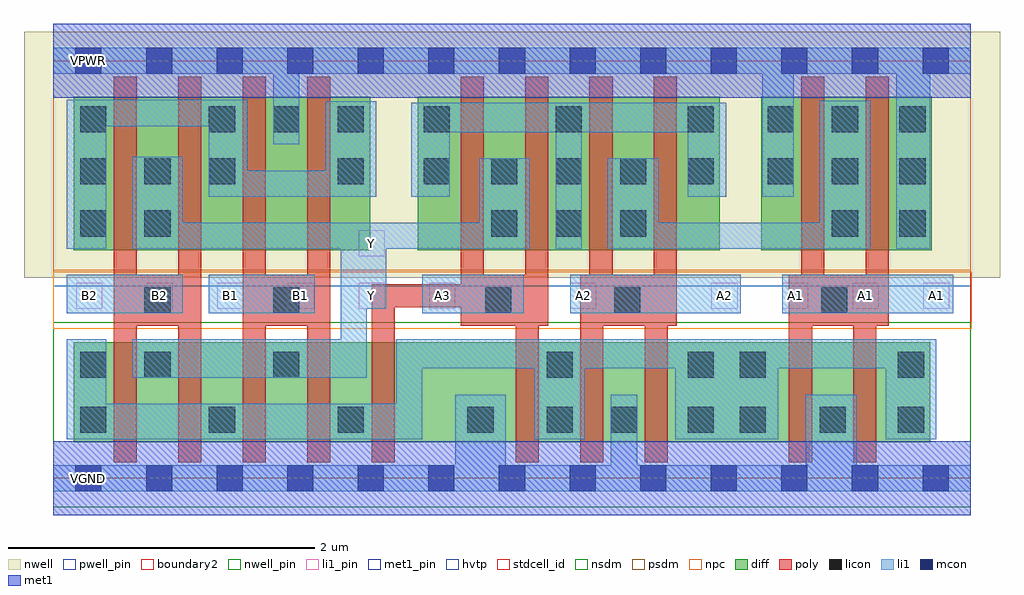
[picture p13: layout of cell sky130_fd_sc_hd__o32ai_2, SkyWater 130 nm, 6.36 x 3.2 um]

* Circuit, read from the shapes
.subckt sky130_fd_sc_hd__o32ai_2 A1 A2 A3 B1 B2 VGND VNB VPB VPWR Y
XM1 Y B2 n1 VNB sky130_fd_pr__nfet_01v8 w=0.65 l=0.15 m=2
XM2 Y B1 n1 VNB sky130_fd_pr__nfet_01v8 w=0.65 l=0.15 m=2
XM3 VGND A3 n1 VNB sky130_fd_pr__nfet_01v8 w=0.65 l=0.15 m=2
XM4 VGND A2 n1 VNB sky130_fd_pr__nfet_01v8 w=0.65 l=0.15 m=2
XM5 VGND A1 n1 VNB sky130_fd_pr__nfet_01v8 w=0.65 l=0.15 m=2
XM6 Y B2 n2 VPB sky130_fd_pr__pfet_01v8_hvt w=1 l=0.15 m=2
XM7 VPWR B1 n2 VPB sky130_fd_pr__pfet_01v8_hvt w=1 l=0.15 m=2
XM8 Y A3 n3 VPB sky130_fd_pr__pfet_01v8_hvt w=1 l=0.15 m=2
XM9 n4 A2 n3 VPB sky130_fd_pr__pfet_01v8_hvt w=1 l=0.15 m=2
XM10 n4 A1 VPWR VPB sky130_fd_pr__pfet_01v8_hvt w=1 l=0.15 m=2
.ends

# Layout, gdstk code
import gdstk
lib = gdstk.Library(unit=1e-6, precision=1e-09)
def R(c, l, rs):  # rectangles x0, y0, x1, y1
    for r in rs: c.add(gdstk.rectangle(r[:2], r[2:], *l))
def A(c, l, x, y, w, h, nx, ny, dx, dy):  # array of equal rectangles
    R(c, l, [(x+i*dx, y+j*dy, x+i*dx+w, y+j*dy+h) for i in range(nx) for j in range(ny)])
def P(c, l, *ps):  # polygons
    for p in ps: c.add(gdstk.Polygon(p, *l))
nwell_pin = (64, 16)
nwell = (64, 20)
diff = (65, 20)
poly = (66, 20)
licon = (66, 44)
li1_pin = (67, 16)
li1 = (67, 20)
mcon = (67, 44)
met1_pin = (68, 16)
met1 = (68, 20)
hvtp = (78, 44)
stdcell_id = (81, 4)
nsdm = (93, 44)
psdm = (94, 20)
npc = (95, 20)
pwell_pin = (122, 16)
boundary2 = (236, 0)

sky130_fd_sc_hd__o32ai_2 = lib.new_cell('sky130_fd_sc_hd__o32ai_2')
R(sky130_fd_sc_hd__o32ai_2, nwell_pin, [(0.145,2.635,0.315,2.805)])
R(sky130_fd_sc_hd__o32ai_2, nwell, [(-0.19,1.305,6.17,2.91)])
R(sky130_fd_sc_hd__o32ai_2, diff, [(0.135,0.235,5.715,0.885), (0.135,1.485,2.065,2.485), (2.375,1.485,4.345,2.485), (4.615,1.485,5.725,2.485)])
P(sky130_fd_sc_hd__o32ai_2, poly, [(4.795,0.105),(4.795,1.325),(4.875,1.325),(4.875,2.615),(5.025,2.615),(5.025,1.325),(5.295,1.325),(5.295,2.615),(5.445,2.615),(5.445,0.995),(5.365,0.995),(5.365,0.105),(5.215,0.105),(5.215,0.995),(4.945,0.995),(4.945,0.105)],
  [(3.435,0.105),(3.435,1.325),(3.495,1.325),(3.495,2.615),(3.645,2.615),(3.645,1.325),(3.915,1.325),(3.915,2.615),(4.065,2.615),(4.065,0.995),(4.005,0.995),(4.005,0.105),(3.855,0.105),(3.855,0.995),(3.585,0.995),(3.585,0.105)],
  [(2.075,0.105),(2.075,1.265),(2.655,1.265),(2.655,2.615),(2.805,2.615),(2.805,1.325),(3.075,1.325),(3.075,2.615),(3.225,2.615),(3.225,0.995),(3.165,0.995),(3.165,0.105),(3.015,0.105),(3.015,0.995),(2.655,0.995),(2.655,1.115),(2.225,1.115),(2.225,0.105)],
  [(0.395,0.105),(0.395,2.615),(0.545,2.615),(0.545,1.325),(0.815,1.325),(0.815,2.615),(0.965,2.615),(0.965,0.105),(0.815,0.105),(0.815,0.995),(0.545,0.995),(0.545,0.105)],
  [(1.235,0.105),(1.235,2.615),(1.385,2.615),(1.385,1.325),(1.655,1.325),(1.655,2.615),(1.805,2.615),(1.805,0.105),(1.655,0.105),(1.655,0.995),(1.385,0.995),(1.385,0.105)])
A(sky130_fd_sc_hd__o32ai_2, licon, 0.175, 0.295, 0.17, 0.17, 3, 1, 0.84, 0)
A(sky130_fd_sc_hd__o32ai_2, licon, 2.855, 1.575, 0.17, 0.17, 3, 2, 0.42, 0.34)
A(sky130_fd_sc_hd__o32ai_2, licon, 5.075, 1.575, 0.17, 0.17, 1, 3, 0, 0.34)
A(sky130_fd_sc_hd__o32ai_2, licon, 5.515, 1.575, 0.17, 0.17, 1, 3, 0, 0.34)
A(sky130_fd_sc_hd__o32ai_2, licon, 0.175, 1.915, 0.17, 0.17, 3, 1, 0.42, 0)
A(sky130_fd_sc_hd__o32ai_2, licon, 1.015, 2.255, 0.17, 0.17, 3, 1, 0.42, 0)
A(sky130_fd_sc_hd__o32ai_2, licon, 2.415, 2.255, 0.17, 0.17, 3, 1, 0.86, 0)
R(sky130_fd_sc_hd__o32ai_2, licon, [(2.7,0.295,2.87,0.465), (3.215,0.295,3.385,0.465), (3.635,0.295,3.805,0.465), (4.135,0.295,4.305,0.465), (4.475,0.295,4.645,0.465), (4.995,0.295,5.165,0.465), (5.505,0.295,5.675,0.465), (0.175,0.655,0.345,0.825), (0.595,0.655,0.765,0.825), (1.435,0.655,1.605,0.825), (3.215,0.655,3.385,0.825), (4.135,0.655,4.305,0.825), (4.475,0.655,4.645,0.825), (5.505,0.655,5.675,0.825), (0.595,1.075,0.765,1.245), (1.435,1.075,1.605,1.245), (2.815,1.075,2.985,1.245), (3.655,1.075,3.825,1.245), (5.005,1.075,5.175,1.245), (0.175,1.575,0.345,1.745), (0.595,1.575,0.765,1.745), (1.855,1.915,2.025,2.085), (2.415,1.915,2.585,2.085), (4.135,1.915,4.305,2.085), (4.655,1.915,4.825,2.085), (0.175,2.255,0.345,2.425), (4.655,2.255,4.825,2.425)])
A(sky130_fd_sc_hd__o32ai_2, li1_pin, 0.15, 1.105, 0.17, 0.17, 6, 1, 0.46, 0)
A(sky130_fd_sc_hd__o32ai_2, li1_pin, 4.29, 1.105, 0.17, 0.17, 4, 1, 0.46, 0)
R(sky130_fd_sc_hd__o32ai_2, li1_pin, [(3.37,1.105,3.54,1.275), (1.99,1.445,2.16,1.615)])
R(sky130_fd_sc_hd__o32ai_2, li1, [(0.09,1.075,0.845,1.325), (1.015,1.075,1.705,1.325), (2.405,1.075,3.065,1.325), (3.37,1.075,4.48,1.325), (4.75,1.075,5.865,1.325)])
P(sky130_fd_sc_hd__o32ai_2, li1, [(5.495,1.495),(5.495,2.635),(4.825,2.635),(4.825,1.835),(4.62,1.835),(4.62,2.635),(1.605,2.635),(1.605,2.175),(1.435,2.175),(1.435,2.635),(0,2.635),(0,2.805),(5.98,2.805),(5.98,2.635),(5.715,2.635),(5.715,1.495)],
  [(0.09,0.255),(0.09,0.905),(0.345,0.905),(0.345,0.485),(2.235,0.485),(2.235,0.905),(5.755,0.905),(5.755,0.255),(5.425,0.255),(5.425,0.715),(4.725,0.715),(4.725,0.255),(4.055,0.255),(4.055,0.715),(3.465,0.715),(3.465,0.255),(3.135,0.255),(3.135,0.715),(2.405,0.715),(2.405,0.255)],
  [(3.615,1.495),(3.615,2.085),(3.945,2.085),(3.945,1.665),(4.995,1.665),(4.995,2.46),(5.325,2.46),(5.325,1.495)],
  [(0,-0.085),(0,0.085),(2.62,0.085),(2.62,0.545),(2.95,0.545),(2.95,0.085),(3.635,0.085),(3.635,0.545),(3.805,0.545),(3.805,0.085),(4.905,0.085),(4.905,0.545),(5.235,0.545),(5.235,0.085),(5.98,0.085),(5.98,-0.085)],
  [(3.275,1.495),(3.275,2.255),(2.585,2.255),(2.585,1.835),(2.335,1.835),(2.335,2.445),(4.385,2.445),(4.385,1.835),(4.135,1.835),(4.135,2.255),(3.445,2.255),(3.445,1.495)],
  [(0.515,0.655),(0.515,0.905),(1.875,0.905),(1.875,1.495),(0.515,1.495),(0.515,2.095),(0.845,2.095),(0.845,1.665),(2.775,1.665),(2.775,2.085),(3.105,2.085),(3.105,1.495),(2.17,1.495),(2.17,1.105),(2.045,1.105),(2.045,0.655)],
  [(0.09,1.495),(0.09,2.465),(1.265,2.465),(1.265,2.005),(1.775,2.005),(1.775,2.455),(2.105,2.455),(2.105,1.835),(1.015,1.835),(1.015,2.295),(0.345,2.295),(0.345,1.495)])
A(sky130_fd_sc_hd__o32ai_2, mcon, 0.145, -0.085, 0.17, 0.17, 13, 2, 0.46, 2.72)
R(sky130_fd_sc_hd__o32ai_2, met1_pin, [(0.145,-0.085,0.315,0.085), (0.145,2.635,0.315,2.805)])
R(sky130_fd_sc_hd__o32ai_2, hvtp, [(0,1.25,5.98,2.72)])
R(sky130_fd_sc_hd__o32ai_2, stdcell_id, [(0,0,5.98,2.72)])
R(sky130_fd_sc_hd__o32ai_2, nsdm, [(0,-0.19,5.98,1.015)])
R(sky130_fd_sc_hd__o32ai_2, psdm, [(0,1.355,5.98,2.91)])
R(sky130_fd_sc_hd__o32ai_2, npc, [(0,0.975,5.985,1.345)])
R(sky130_fd_sc_hd__o32ai_2, pwell_pin, [(0.145,-0.085,0.315,0.085)])
R(sky130_fd_sc_hd__o32ai_2, boundary2, [(0,0,5.98,2.72)])
sky130_fd_sc_hd__o32ai_2.add(gdstk.FlexPath([(0,0),(5.98,0)], 0.48, ends="flush", simple_path=True, layer=68, datatype=20))  # met1
sky130_fd_sc_hd__o32ai_2.add(gdstk.FlexPath([(0,2.72),(5.98,2.72)], 0.48, ends="flush", simple_path=True, layer=68, datatype=20))  # met1
sky130_fd_sc_hd__o32ai_2.add(gdstk.Label('VPWR', (0.23,2.72), layer=68, texttype=5))
sky130_fd_sc_hd__o32ai_2.add(gdstk.Label('VGND', (0.23,0), layer=68, texttype=5))
sky130_fd_sc_hd__o32ai_2.add(gdstk.Label('VPB', (0.23,2.72), layer=64, texttype=5))
sky130_fd_sc_hd__o32ai_2.add(gdstk.Label('VNB', (0.23,0), layer=64, texttype=59))
sky130_fd_sc_hd__o32ai_2.add(gdstk.Label('o32ai_2', (0,0), layer=83, texttype=44))
sky130_fd_sc_hd__o32ai_2.add(gdstk.Label('B2', (0.235,1.19), layer=67, texttype=5))
sky130_fd_sc_hd__o32ai_2.add(gdstk.Label('B2', (0.695,1.19), layer=67, texttype=5))
sky130_fd_sc_hd__o32ai_2.add(gdstk.Label('A3', (2.535,1.19), layer=67, texttype=5))
sky130_fd_sc_hd__o32ai_2.add(gdstk.Label('A2', (3.455,1.19), layer=67, texttype=5))
sky130_fd_sc_hd__o32ai_2.add(gdstk.Label('A2', (4.375,1.19), layer=67, texttype=5))
sky130_fd_sc_hd__o32ai_2.add(gdstk.Label('Y', (2.075,1.19), layer=67, texttype=5))
sky130_fd_sc_hd__o32ai_2.add(gdstk.Label('Y', (2.075,1.53), layer=67, texttype=5))
sky130_fd_sc_hd__o32ai_2.add(gdstk.Label('B1', (1.155,1.19), layer=67, texttype=5))
sky130_fd_sc_hd__o32ai_2.add(gdstk.Label('B1', (1.615,1.19), layer=67, texttype=5))
sky130_fd_sc_hd__o32ai_2.add(gdstk.Label('A1', (4.835,1.19), layer=67, texttype=5))
sky130_fd_sc_hd__o32ai_2.add(gdstk.Label('A1', (5.295,1.19), layer=67, texttype=5))
sky130_fd_sc_hd__o32ai_2.add(gdstk.Label('A1', (5.755,1.19), layer=67, texttype=5))

lib.write_gds('sky130_fd_sc_hd__o32ai_2.gds')
